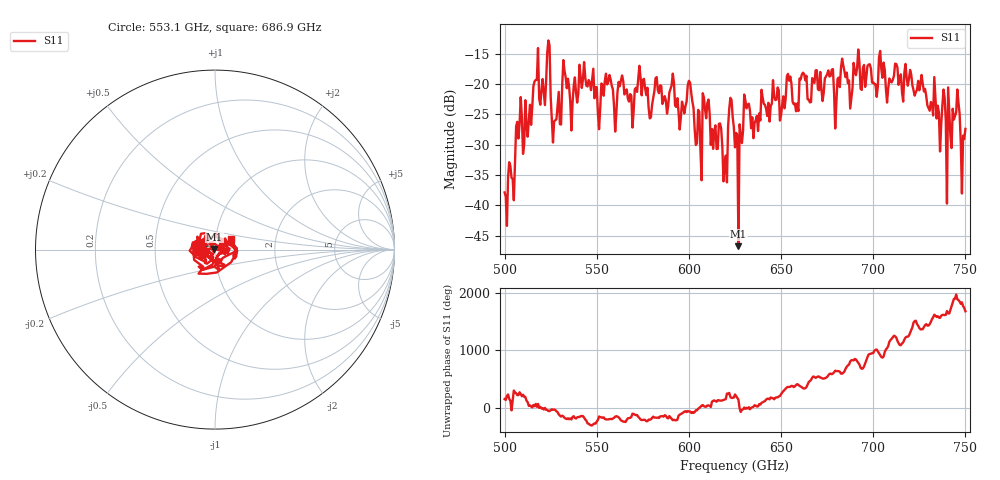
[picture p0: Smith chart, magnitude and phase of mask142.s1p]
!Created with skrf (http://scikit-rf.org).
# GHz S MA R 50.0
!freq magS11 angS11
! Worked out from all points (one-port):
!   401 points, 500 GHz to 750 GHz, reference 50 ohm
!   lowest |S11| = -46.7 dB at 626.9 GHz (marker M1), VSWR 1.01, Z = 49.6 + j0.293 ohm
!   |S11| at or under -10 dB: start of sweep to end of sweep
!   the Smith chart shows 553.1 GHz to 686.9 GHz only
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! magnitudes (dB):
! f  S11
! 500 GHz  -37.9
! 507.5 GHz  -29.0
! 516.9 GHz  -19.3
! 520.6 GHz  -19.2
! 523.8 GHz  -12.8
! 526.9 GHz  -26.1
! 531.2 GHz  -20.2
! 562.5 GHz  -20.4
! 579.4 GHz  -25.5
! 590.6 GHz  -20.2
! 593.8 GHz  -22.3
! 600.6 GHz  -19.8
! 605.6 GHz  -24.5
! 609.4 GHz  -25.6
! 619.4 GHz  -33.6
! 622.5 GHz  -22.3
! 625 GHz  -30.4
! 626.9 GHz  -46.7
! 631.2 GHz  -24.0
! 636.2 GHz  -26.0
! 656.2 GHz  -22.9
! 676.9 GHz  -18.6
! 680 GHz  -23.0
! 683.8 GHz  -16.9
! 687.5 GHz  -24.0
! 690.6 GHz  -18.5
! 718.8 GHz  -20.3
! 750 GHz  -27.4
